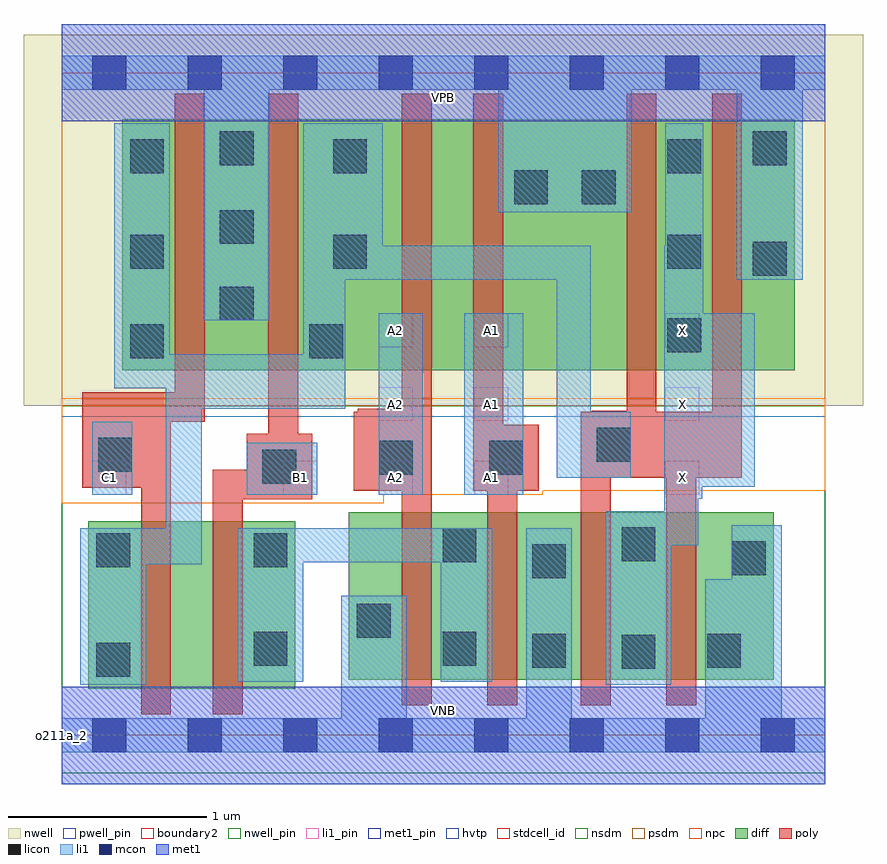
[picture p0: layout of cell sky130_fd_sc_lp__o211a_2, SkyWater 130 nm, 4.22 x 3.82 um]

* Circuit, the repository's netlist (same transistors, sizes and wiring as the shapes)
* Copyright 2020 The SkyWater PDK Authors
*
* Licensed under the Apache License, Version 2.0 (the "License");
* you may not use this file except in compliance with the License.
* You may obtain a copy of the License at
*
*     https://www.apache.org/licenses/LICENSE-2.0
*
* Unless required by applicable law or agreed to in writing, software
* distributed under the License is distributed on an "AS IS" BASIS,
* WITHOUT WARRANTIES OR CONDITIONS OF ANY KIND, either express or implied.
* See the License for the specific language governing permissions and
* limitations under the License.
*
* SPDX-License-Identifier: Apache-2.0

.SUBCKT sky130_fd_sc_lp__o211a_2 A1 A2 B1 C1 VGND VNB VPB VPWR X
*.PININFO A1:I A2:I B1:I C1:I VGND:I VNB:I VPB:I VPWR:I X:O
MMPA0 VPWR A1 sndA1 VPB sky130_fd_pr__pfet_01v8_hvt m=1 w=1.26U l=0.15U mult=1
+ sa=0.265 sb=0.265 sd=0.28 area=0.063 perim=1.14
MMPA1 sndA1 A2 y VPB sky130_fd_pr__pfet_01v8_hvt m=1 w=1.26U l=0.15U mult=1 sa=0.265
+ sb=0.265 sd=0.28 area=0.063 perim=1.14
MMPB0 VPWR B1 y VPB sky130_fd_pr__pfet_01v8_hvt m=1 w=1.26U l=0.15U mult=1 sa=0.265
+ sb=0.265 sd=0.28 area=0.063 perim=1.14
MMPC0 VPWR C1 y VPB sky130_fd_pr__pfet_01v8_hvt m=1 w=1.26U l=0.15U mult=1 sa=0.265
+ sb=0.265 sd=0.28 area=0.063 perim=1.14
MMIPX X y VPWR VPB sky130_fd_pr__pfet_01v8_hvt m=2 w=1.26U l=0.15U mult=1 sa=0.265
+ sb=0.265 sd=0.28 area=0.063 perim=1.14
MMNA0 pndA A1 VGND VNB sky130_fd_pr__nfet_01v8 m=1 w=0.84U l=0.15U mult=1 sa=0.265
+ sb=0.265 sd=0.28 area=0.063 perim=1.14
MMNA1 pndA A2 VGND VNB sky130_fd_pr__nfet_01v8 m=1 w=0.84U l=0.15U mult=1 sa=0.265
+ sb=0.265 sd=0.28 area=0.063 perim=1.14
MMNB0 pndB B1 pndA VNB sky130_fd_pr__nfet_01v8 m=1 w=0.84U l=0.15U mult=1 sa=0.265
+ sb=0.265 sd=0.28 area=0.063 perim=1.14
MMNC0 y C1 pndB VNB sky130_fd_pr__nfet_01v8 m=1 w=0.84U l=0.15U mult=1 sa=0.265
+ sb=0.265 sd=0.28 area=0.063 perim=1.14
MMINX X y VGND VNB sky130_fd_pr__nfet_01v8 m=2 w=0.84U l=0.15U mult=1 sa=0.265
+ sb=0.265 sd=0.28 area=0.063 perim=1.14
.ENDS sky130_fd_sc_lp__o211a_2

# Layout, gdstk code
import gdstk
lib = gdstk.Library(unit=1e-6, precision=1e-09)
def R(c, l, rs):  # rectangles x0, y0, x1, y1
    for r in rs: c.add(gdstk.rectangle(r[:2], r[2:], *l))
def A(c, l, x, y, w, h, nx, ny, dx, dy):  # array of equal rectangles
    R(c, l, [(x+i*dx, y+j*dy, x+i*dx+w, y+j*dy+h) for i in range(nx) for j in range(ny)])
def P(c, l, *ps):  # polygons
    for p in ps: c.add(gdstk.Polygon(p, *l))
nwell_pin = (64, 16)
nwell = (64, 20)
diff = (65, 20)
poly = (66, 20)
licon = (66, 44)
li1_pin = (67, 16)
li1 = (67, 20)
mcon = (67, 44)
met1_pin = (68, 16)
met1 = (68, 20)
hvtp = (78, 44)
stdcell_id = (81, 4)
nsdm = (93, 44)
psdm = (94, 20)
npc = (95, 20)
pwell_pin = (122, 16)
boundary2 = (236, 0)

sky130_fd_sc_lp__o211a_2 = lib.new_cell('sky130_fd_sc_lp__o211a_2')
R(sky130_fd_sc_lp__o211a_2, nwell_pin, [(0,3.085,3.84,3.33)])
R(sky130_fd_sc_lp__o211a_2, nwell, [(-0.19,1.655,4.03,3.52)])
R(sky130_fd_sc_lp__o211a_2, diff, [(0.135,0.235,1.175,1.075), (1.445,0.28,3.58,1.12), (0.305,1.835,3.685,3.095)])
P(sky130_fd_sc_lp__o211a_2, poly, [(0.72,3.225),(0.57,3.225),(0.57,1.725),(0.105,1.725),(0.105,1.245),(0.4,1.245),(0.4,0.105),(0.55,0.105),(0.55,1.575),(0.72,1.575)],
  [(1.26,1.515),(1.19,1.515),(1.19,3.225),(1.04,3.225),(1.04,1.515),(0.93,1.515),(0.93,1.335),(0.76,1.335),(0.76,0.105),(0.91,0.105),(0.91,1.185),(1.26,1.185)],
  [(1.86,3.225),(1.71,3.225),(1.71,1.64),(1.49,1.64),(1.49,1.625),(1.47,1.625),(1.47,1.23),(1.71,1.23),(1.71,0.15),(1.86,0.15)],
  [(2.4,1.56),(2.22,1.56),(2.22,3.225),(2.07,3.225),(2.07,1.23),(2.14,1.23),(2.14,0.15),(2.29,0.15),(2.29,1.23),(2.4,1.23)],
  [(3.42,3.225),(3.27,3.225),(3.27,1.625),(2.99,1.625),(2.99,3.225),(2.84,3.225),(2.84,1.63),(2.665,1.63),(2.665,1.625),(2.61,1.625),(2.61,0.15),(2.76,0.15),(2.76,1.295),(3.04,1.295),(3.04,0.15),(3.19,0.15),(3.19,1.295),(3.42,1.295)])
R(sky130_fd_sc_lp__o211a_2, licon, [(0.175,0.295,0.345,0.465), (2.815,0.335,2.985,0.505), (2.365,0.34,2.535,0.51), (3.245,0.34,3.415,0.51), (0.965,0.35,1.135,0.52), (1.915,0.35,2.085,0.52), (1.485,0.49,1.655,0.66), (2.365,0.79,2.535,0.96), (3.37,0.805,3.54,0.975), (0.175,0.845,0.345,1.015), (0.965,0.845,1.135,1.015), (1.915,0.87,2.085,1.04), (2.815,0.875,2.985,1.045), (1.01,1.265,1.18,1.435), (1.595,1.31,1.765,1.48), (2.15,1.31,2.32,1.48), (0.185,1.325,0.355,1.495), (2.69,1.375,2.86,1.545), (0.345,1.895,0.515,2.065), (1.245,1.895,1.415,2.065), (3.045,1.925,3.215,2.095), (0.795,2.085,0.965,2.255), (3.475,2.31,3.645,2.48), (0.345,2.345,0.515,2.515), (1.365,2.345,1.535,2.515), (3.045,2.345,3.215,2.515), (0.795,2.47,0.965,2.64), (2.275,2.67,2.445,2.84), (2.615,2.67,2.785,2.84), (0.345,2.825,0.515,2.995), (1.365,2.825,1.535,2.995), (3.045,2.825,3.215,2.995), (0.795,2.865,0.965,3.035), (3.475,2.865,3.645,3.035)])
A(sky130_fd_sc_lp__o211a_2, li1_pin, 1.115, 1.21, 0.17, 0.17, 3, 1, 0.48, 0)
A(sky130_fd_sc_lp__o211a_2, li1_pin, 3.035, 1.21, 0.17, 0.17, 1, 3, 0, 0.37)
R(sky130_fd_sc_lp__o211a_2, li1_pin, [(0.155,1.21,0.325,1.38), (1.595,1.58,1.765,1.75), (2.075,1.58,2.245,1.75), (1.595,1.95,1.765,2.12), (2.075,1.95,2.245,2.12)])
R(sky130_fd_sc_lp__o211a_2, li1, [(0.155,1.21,0.355,1.575), (0.93,1.21,1.285,1.47), (1.595,1.21,1.815,2.12), (2.025,1.21,2.32,2.12)])
P(sky130_fd_sc_lp__o211a_2, li1, [(3.84,3.415),(0,3.415),(0,3.245),(0.715,3.245),(0.715,2.085),(1.045,2.085),(1.045,3.245),(2.195,3.245),(2.195,2.63),(2.865,2.63),(2.865,3.245),(3.395,3.245),(3.395,2.29),(3.725,2.29),(3.725,3.245),(3.84,3.245)],
  [(3.485,2.12),(3.225,2.12),(3.225,3.075),(3.035,3.075),(3.035,2.46),(3.03,2.46),(3.03,1.125),(2.735,1.125),(2.735,0.255),(3.065,0.255),(3.065,0.955),(3.2,0.955),(3.2,1.19),(3.22,1.19),(3.22,1.25),(3.485,1.25)],
  [(1.905,0.87),(1.215,0.87),(1.215,0.27),(0.885,0.27),(0.885,1.04),(2.165,1.04),(2.165,0.27),(1.905,0.27)],
  [(3.84,0.085),(3.62,0.085),(3.62,1.055),(3.37,1.055),(3.37,0.785),(3.235,0.785),(3.235,0.085),(2.565,0.085),(2.565,1.04),(2.335,1.04),(2.335,0.085),(1.735,0.085),(1.735,0.7),(1.405,0.7),(1.405,0.085),(0,0.085),(0,-0.085),(3.84,-0.085)],
  [(2.86,1.625),(2.66,1.625),(2.66,2.46),(1.615,2.46),(1.615,3.075),(1.215,3.075),(1.215,1.915),(0.545,1.915),(0.545,3.075),(0.265,3.075),(0.265,1.745),(0.525,1.745),(0.525,1.04),(0.095,1.04),(0.095,0.255),(0.425,0.255),(0.425,0.86),(0.705,0.86),(0.705,1.64),(1.425,1.64),(1.425,2.29),(2.49,2.29),(2.49,1.295),(2.86,1.295)])
A(sky130_fd_sc_lp__o211a_2, mcon, 0.155, -0.085, 0.17, 0.17, 8, 2, 0.48, 3.33)
R(sky130_fd_sc_lp__o211a_2, met1_pin, [(0,0,3.84,0.245), (0,3.085,3.84,3.33)])
R(sky130_fd_sc_lp__o211a_2, met1, [(0,-0.245,3.84,0.245), (0,3.085,3.84,3.575)])
R(sky130_fd_sc_lp__o211a_2, hvtp, [(0,1.6,3.84,3.33)])
R(sky130_fd_sc_lp__o211a_2, stdcell_id, [(0,0,3.84,3.33)])
R(sky130_fd_sc_lp__o211a_2, nsdm, [(0,-0.19,3.84,1.655)])
R(sky130_fd_sc_lp__o211a_2, psdm, [(0,1.655,3.84,3.52)])
P(sky130_fd_sc_lp__o211a_2, npc, [(3.84,1.695),(0,1.695),(0,1.165),(1.62,1.165),(1.62,1.21),(2.42,1.21),(2.42,1.23),(3.84,1.23)])
R(sky130_fd_sc_lp__o211a_2, pwell_pin, [(0,0,3.84,0.245)])
R(sky130_fd_sc_lp__o211a_2, boundary2, [(0,0,3.84,3.33)])
sky130_fd_sc_lp__o211a_2.add(gdstk.Label('VNB', (1.92,0.123), layer=64, texttype=59))
sky130_fd_sc_lp__o211a_2.add(gdstk.Label('VPB', (1.92,3.208), layer=64, texttype=5))
sky130_fd_sc_lp__o211a_2.add(gdstk.Label('o211a_2', (0,0), layer=83, texttype=44))
sky130_fd_sc_lp__o211a_2.add(gdstk.Label('VPWR', (1.92,3.208), layer=68, texttype=5))
sky130_fd_sc_lp__o211a_2.add(gdstk.Label('VGND', (1.92,0.123), layer=68, texttype=5))
sky130_fd_sc_lp__o211a_2.add(gdstk.Label('X', (3.12,1.295), layer=67, texttype=5))
sky130_fd_sc_lp__o211a_2.add(gdstk.Label('X', (3.12,1.665), layer=67, texttype=5))
sky130_fd_sc_lp__o211a_2.add(gdstk.Label('X', (3.12,2.035), layer=67, texttype=5))
sky130_fd_sc_lp__o211a_2.add(gdstk.Label('A1', (2.16,1.295), layer=67, texttype=5))
sky130_fd_sc_lp__o211a_2.add(gdstk.Label('A1', (2.16,1.665), layer=67, texttype=5))
sky130_fd_sc_lp__o211a_2.add(gdstk.Label('A1', (2.16,2.035), layer=67, texttype=5))
sky130_fd_sc_lp__o211a_2.add(gdstk.Label('A2', (1.68,1.295), layer=67, texttype=5))
sky130_fd_sc_lp__o211a_2.add(gdstk.Label('A2', (1.68,1.665), layer=67, texttype=5))
sky130_fd_sc_lp__o211a_2.add(gdstk.Label('A2', (1.68,2.035), layer=67, texttype=5))
sky130_fd_sc_lp__o211a_2.add(gdstk.Label('B1', (1.2,1.295), layer=67, texttype=5))
sky130_fd_sc_lp__o211a_2.add(gdstk.Label('C1', (0.24,1.295), layer=67, texttype=5))

lib.write_gds('sky130_fd_sc_lp__o211a_2.gds')
